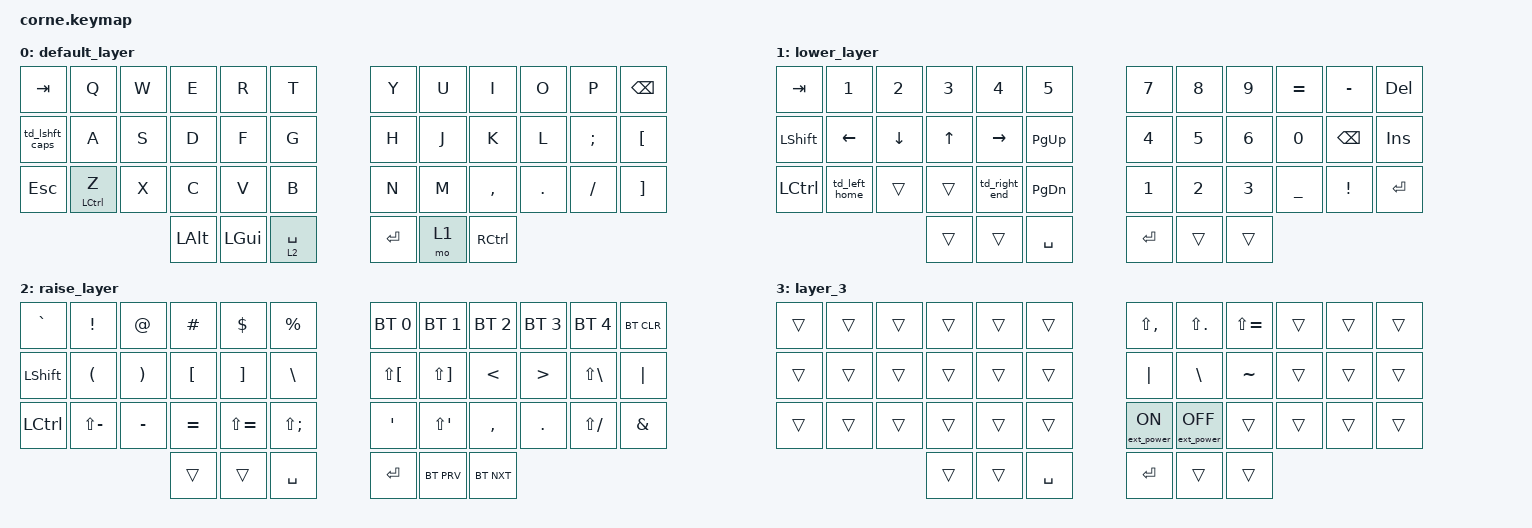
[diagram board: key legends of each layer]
#include <behaviors.dtsi>
#include <dt-bindings/zmk/bt.h>
#include <dt-bindings/zmk/ext_power.h>
#include <dt-bindings/zmk/keys.h>
/ {
    combos {
        compatible = "zmk,combos";
        music {
            bindings = <&tog 4>;
            key-positions = <36 37 38>;
        };
    };
    behaviors {
        td_lshft_caps: td_lshft_caps {
            compatible = "zmk,behavior-tap-dance";
            label = "TD_LSHFT_CAPS";
            #binding-cells = <0>;
            tapping-term-ms = <200>;
            bindings = <&kp LSHFT>, <&kp CAPS>;
        };
        td_left_home: td_left_home {
            compatible = "zmk,behavior-tap-dance";
            label = "TD_LEFT_HOME";
            #binding-cells = <0>;
            tapping-term-ms = <200>;
            bindings = <&kp LEFT>, <&kp HOME>;
        };
        td_right_end: td_right_end {
            compatible = "zmk,behavior-tap-dance";
            label = "TD_RIGHT_END";
            #binding-cells = <0>;
            tapping-term-ms = <200>;
            bindings = <&kp RIGHT>, <&kp END>;
        };
    };
    keymap {
        compatible = "zmk,keymap";
        default_layer {
            bindings = <
&kp TAB        &kp Q      &kp W  &kp E  &kp R       &kp T   &kp Y  &kp U  &kp I      &kp O    &kp P     &kp BSPC
&td_lshft_caps &kp A      &kp S  &kp D  &kp F       &kp G   &kp H  &kp J  &kp K      &kp L    &kp SEMI  &kp LBKT
&kp ESC        &mt LCTRL Z &kp X  &kp C  &kp V       &kp B   &kp N  &kp M  &kp COMMA  &kp DOT  &kp FSLH  &kp RBKT
                          &kp LALT  &kp LGUI  &lt 2 SPACE  &kp RET  &mo 1  &kp RCTRL
            >;
        };
        lower_layer {
            bindings = <
&kp TAB   &kp N1        &kp N2   &kp N3 &kp N4        &kp N5    &kp N7 &kp N8 &kp N9 &kp EQUAL      &kp MINUS &kp DEL
&kp LSHFT &kp LEFT      &kp DOWN &kp UP &kp RIGHT     &kp PG_UP &kp N4 &kp N5 &kp N6 &kp N0         &kp BSPC  &kp INS
&kp LCTRL &td_left_home &trans   &trans &td_right_end &kp PG_DN &kp N1 &kp N2 &kp N3 &kp UNDERSCORE &kp EXCL  &kp ENTER
                        &trans   &trans &kp SPACE     &kp RET   &trans &trans
            >;
        };
        raise_layer {
            bindings = <
&kp GRAVE &kp EXCL             &kp AT                &kp HASH  &kp DLLR      &kp PRCNT    &bt BT_SEL 0 &bt BT_SEL 1 &bt BT_SEL 2 &bt BT_SEL 3 &bt BT_SEL 4 &bt BT_CLR
&kp LSHFT &kp LEFT_PARENTHESIS &kp RIGHT_PARENTHESIS &kp LBKT  &kp RBKT      &kp BSLH     &kp LS(LBKT) &kp LS(RBKT) &kp LT       &kp GT       &kp LS(BSLH) &kp PIPE
&kp LCTRL &kp LS(MINUS)        &kp MINUS             &kp EQUAL &kp LS(EQUAL) &kp LS(SEMI) &kp SQT      &kp LS(SQT)  &kp COMMA    &kp DOT      &kp LS(FSLH) &kp AMPS
                                &trans                &trans    &kp SPACE     &kp RET      &bt BT_PRV   &bt BT_NXT
            >;
        };
        layer_3 {
            bindings = <
&trans &trans &trans &trans &trans &trans    &kp LS(COMMA)    &kp LS(DOT)       &kp LS(EQUAL) &trans &trans &trans
&trans &trans &trans &trans &trans &trans    &kp PIPE         &kp BSLH          &kp TILDE     &trans &trans &trans
&trans &trans &trans &trans &trans &trans    &ext_power EP_ON &ext_power EP_OFF &trans        &trans &trans &trans
                     &trans &trans &kp SPACE &kp ENTER        &trans            &trans
            >;
        };
    };
    conditional_layers {
        compatible = "zmk,conditional-layers";
        extra_layer {
            if-layers = <1 2>;
            then-layer = <3>;
        };
    };
};
